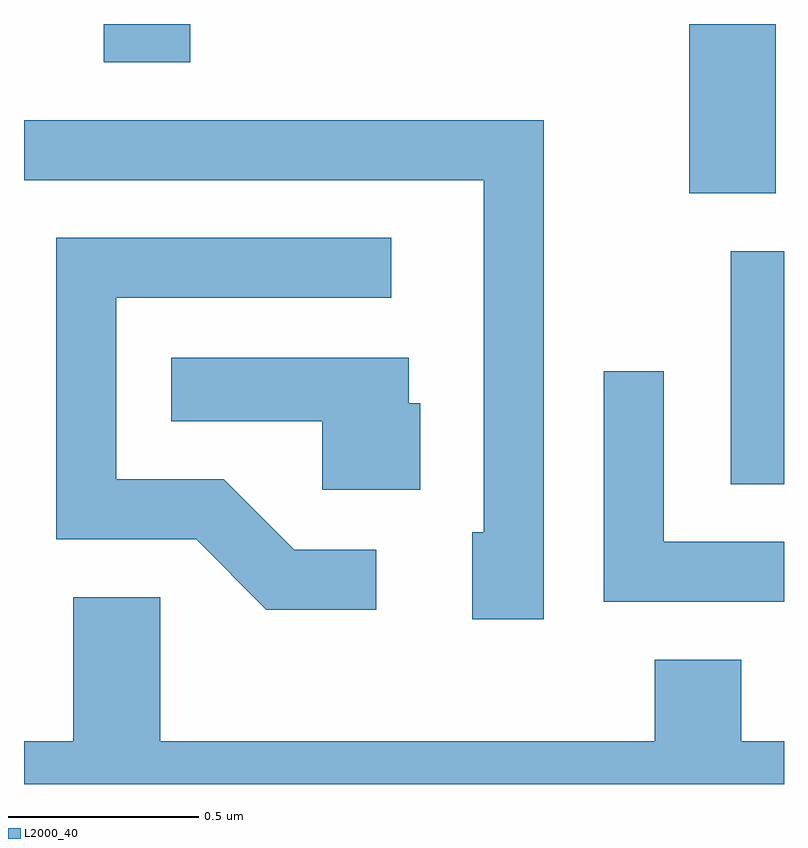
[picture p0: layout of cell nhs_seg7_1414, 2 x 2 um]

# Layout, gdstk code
import gdstk
lib = gdstk.Library(unit=1e-6, precision=1e-09)
def R(c, l, rs):  # rectangles x0, y0, x1, y1
    for r in rs: c.add(gdstk.rectangle(r[:2], r[2:], *l))
def P(c, l, *ps):  # polygons
    for p in ps: c.add(gdstk.Polygon(p, *l))
L2000_40 = (2000, 40)

nhs_seg7_1414 = lib.new_cell('nhs_seg7_1414')
R(nhs_seg7_1414, L2000_40, [(197.471,1713.041,197.611,1713.654), (197.361,1713.806,197.589,1714.252), (195.821,1714.151,196.049,1714.252)])
P(nhs_seg7_1414, L2000_40, [(196.979,1713.999),(195.611,1713.999),(195.611,1713.841),(196.821,1713.841),(196.821,1712.914),(196.791,1712.914),(196.791,1712.686),(196.979,1712.686)],
  [(196.538,1712.869),(196.322,1712.869),(196.137,1713.054),(195.854,1713.054),(195.854,1713.531),(196.578,1713.531),(196.578,1713.689),(195.696,1713.689),(195.696,1712.896),(196.064,1712.896),(196.249,1712.711),(196.538,1712.711)],
  [(196.654,1713.254),(196.624,1713.254),(196.624,1713.374),(195.998,1713.374),(195.998,1713.206),(196.396,1713.206),(196.396,1713.026),(196.654,1713.026)],
  [(197.611,1712.889),(197.294,1712.889),(197.294,1713.338),(197.136,1713.338),(197.136,1712.731),(197.611,1712.731)],
  [(197.611,1712.364),(197.499,1712.364),(197.499,1712.579),(197.271,1712.579),(197.271,1712.364),(195.969,1712.364),(195.969,1712.744),(195.741,1712.744),(195.741,1712.364),(195.611,1712.364),(195.611,1712.252),(197.611,1712.252)])

lib.write_gds('nhs_seg7_1414.gds')
